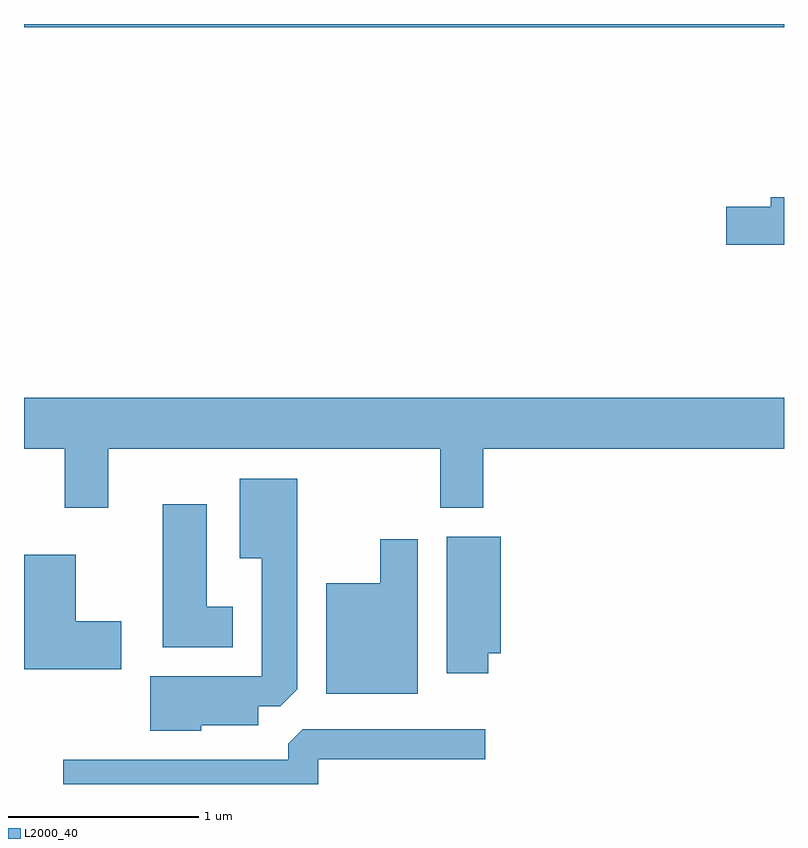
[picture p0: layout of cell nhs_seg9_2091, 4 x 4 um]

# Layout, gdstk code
import gdstk
lib = gdstk.Library(unit=1e-6, precision=1e-09)
def R(c, l, rs):  # rectangles x0, y0, x1, y1
    for r in rs: c.add(gdstk.rectangle(r[:2], r[2:], *l))
def P(c, l, *ps):  # polygons
    for p in ps: c.add(gdstk.Polygon(p, *l))
L2000_40 = (2000, 40)

nhs_seg9_2091 = lib.new_cell('nhs_seg9_2091')
R(nhs_seg9_2091, L2000_40, [(245.611,2058.416,249.611,2058.432)])
P(nhs_seg9_2091, L2000_40, [(249.611,2057.519),(249.541,2057.519),(249.541,2057.469),(249.306,2057.469),(249.306,2057.271),(249.611,2057.271)],
  [(246.054,2056.196),(247.801,2056.196),(247.801,2055.886),(248.029,2055.886),(248.029,2056.196),(249.611,2056.196),(249.611,2056.464),(245.611,2056.464),(245.611,2056.196),(245.826,2056.196),(245.826,2055.886),(246.054,2055.886)],
  [(246.544,2054.741),(246.844,2054.741),(246.844,2054.841),(246.959,2054.841),(247.049,2054.932),(247.049,2056.039),(246.746,2056.039),(246.746,2055.621),(246.861,2055.621),(246.861,2054.999),(246.276,2054.999),(246.276,2054.711),(246.544,2054.711)],
  [(246.709,2055.364),(246.574,2055.364),(246.574,2055.904),(246.341,2055.904),(246.341,2055.151),(246.709,2055.151)],
  [(248.054,2055.121),(248.119,2055.121),(248.119,2055.734),(247.836,2055.734),(247.836,2055.016),(248.054,2055.016)],
  [(247.684,2055.719),(247.486,2055.719),(247.486,2055.489),(247.201,2055.489),(247.201,2054.906),(247.684,2054.906)],
  [(246.124,2055.289),(245.884,2055.289),(245.884,2055.639),(245.611,2055.639),(245.611,2055.036),(246.124,2055.036)],
  [(247.159,2054.561),(248.038,2054.561),(248.038,2054.719),(247.077,2054.719),(247.001,2054.644),(247.001,2054.559),(245.818,2054.559),(245.818,2054.432),(247.159,2054.432)])

lib.write_gds('nhs_seg9_2091.gds')
